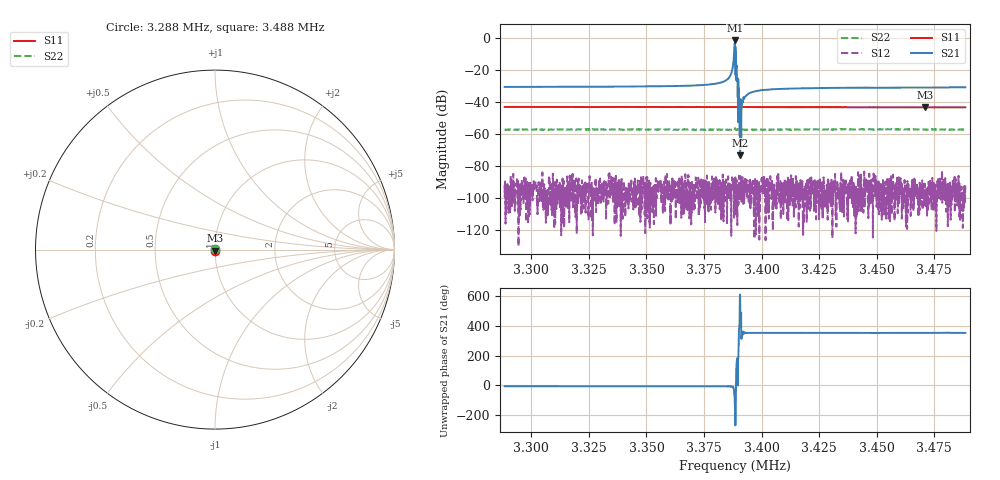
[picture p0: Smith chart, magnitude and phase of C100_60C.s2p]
# Hz S dB R 50.000
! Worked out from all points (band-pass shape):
!   6401 points, 3.288 MHz to 3.488 MHz, reference 50 ohm
!   highest |S21| = -1.71 dB at 3.388 MHz (marker M1); lowest = -73.2 dB at 3.391 MHz (marker M2)
!   |S21| within 3 dB of the highest: 3.38824 MHz to 3.388472 MHz (232 Hz wide, 0.00685 % of centre)
!   lowest |S11| = -43.4 dB at 3.471 MHz (marker M3), VSWR 1.01, Z = 49.9 - j0.672 ohm
!   |S11| at or under -10 dB: start of sweep to end of sweep
!   |S22| runs from -57.7 to -56.3 dB; largest |S21 - S12| = 0.82
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3288438  -43.09 -93.9  -30.64 -7.0  -91.93 -9.8  -57.17 71.2
3321782  -43.11 -93.9  -30.53 -7.1  -96.51 23.1  -57.10 70.1
3355126  -43.12 -94.0  -30.23 -7.3  -95.68 -34.4  -57.27 70.1
3374063  -43.17 -94.1  -29.47 -7.4  -93.59 -16.5  -57.23 71.9
3382657  -43.19 -94.1  -27.77 -7.8  -89.66 116.7  -57.22 73.3
3385969  -43.19 -94.0  -24.55 -7.6  -92.77 -1.2  -57.18 72.8
3386844  -43.17 -94.2  -22.02 -8.4  -101.92 35.0  -57.27 73.6
3387282  -43.19 -94.0  -19.48 -11.1  -93.12 22.3  -57.33 72.9
3387657  -43.18 -94.1  -15.94 -10.8  -94.63 7.5  -57.40 72.4
3388438  -43.21 -94.3  -1.71 -145.4  -90.19 -167.7  -56.32 79.9
3389094  -43.18 -94.0  -18.30 140.5  -89.85 23.3  -57.17 72.7
3389688  -43.18 -94.0  -30.25 -1.8  -92.33 -12.7  -57.03 74.4
3390188  -43.22 -94.2  -38.49 13.7  -88.54 76.1  -57.14 72.2
3390688  -43.18 -94.0  -73.16 -176.4  -91.08 -54.4  -57.05 73.5
3391313  -43.18 -93.9  -43.32 -36.8  -96.26 68.2  -57.20 72.8
3392250  -43.17 -94.1  -37.34 -3.9  -96.88 -36.8  -57.19 71.9
3393032  -43.20 -94.1  -36.29 -7.8  -94.16 68.7  -57.40 72.7
3396750  -43.23 -94.1  -33.50 -7.9  -95.58 43.2  -57.31 72.5
3421782  -43.22 -94.1  -31.39 -7.4  -92.36 17.3  -57.11 73.1
3455126  -43.34 -93.9  -31.10 -7.5  -96.54 6.1  -56.99 72.0
3470782  -43.43 -94.2  -30.99 -7.4  -90.82 54.1  -57.13 69.2
3488438  -43.35 -94.2  -30.89 -7.5  -91.60 57.9  -57.25 69.2
